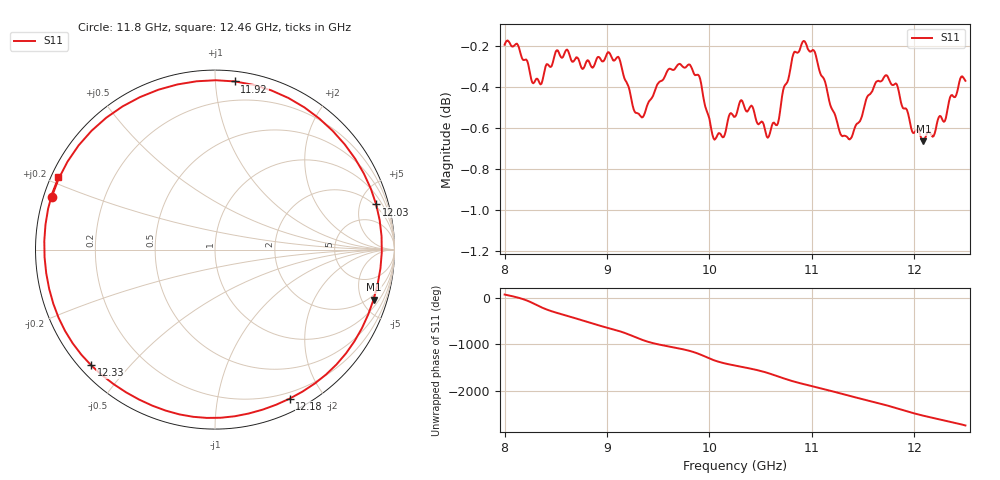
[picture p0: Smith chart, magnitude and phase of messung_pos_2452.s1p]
#  HZ  S  RI  R  50.00
! Rohde & Schwarz Vector Network Analyzer
! Rohde-Schwarz,ZNA43-4Port,1332450044101932,2.92
! Created: UTC 6/1/2026, 11:34:42 AM
! freq[Hz]  re:S11  im:S11
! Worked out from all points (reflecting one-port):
!   451 points, 8 GHz to 12.5 GHz, reference 50 ohm
!   lowest |S11| = -0.7 dB at 12.09 GHz (marker M1), VSWR 26.14, Z = 77.9 - j306 ohm
!   phase of S11 starts at 78 deg and turns -2825 deg over the sweep
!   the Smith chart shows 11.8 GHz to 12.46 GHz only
!   S11 on the Smith chart (normalised r, x): 11.8 GHz: 0.02, +0.16; 11.92 GHz: 0.07, +1.12; 12.03 GHz: 1.77, +6.83; 12.18 GHz: 0.13, -1.61; 12.33 GHz: 0.03, -0.39; 12.46 GHz: 0.02, +0.22
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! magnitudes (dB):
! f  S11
! 8 GHz  -0.2
! 8.13 GHz  -0.2
! 8.28 GHz  -0.4
! 8.57 GHz  -0.3
! 9.13 GHz  -0.3
! 9.26 GHz  -0.5
! 9.34 GHz  -0.5
! 9.69 GHz  -0.3
! 9.9 GHz  -0.3
! 10.05 GHz  -0.7
! 10.25 GHz  -0.5
! 10.41 GHz  -0.5
! 10.58 GHz  -0.6
! 10.67 GHz  -0.6
! 10.82 GHz  -0.2
! 11.02 GHz  -0.2
! 11.28 GHz  -0.6
! 11.38 GHz  -0.7
! 11.63 GHz  -0.4
! 11.8 GHz  -0.4
! 11.92 GHz  -0.5
! 11.94 GHz  -0.5
! 12.03 GHz  -0.6
! 12.09 GHz  -0.7
! 12.18 GHz  -0.6
! 12.33 GHz  -0.5
! 12.46 GHz  -0.4
! 12.5 GHz  -0.4
